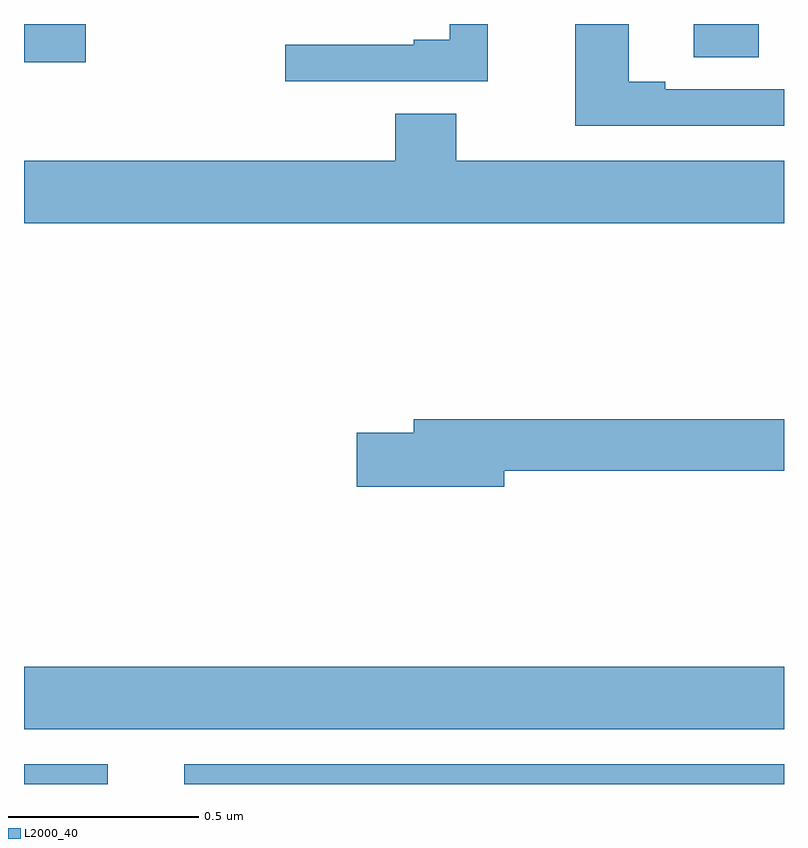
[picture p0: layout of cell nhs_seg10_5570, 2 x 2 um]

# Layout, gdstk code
import gdstk
lib = gdstk.Library(unit=1e-6, precision=1e-09)
def R(c, l, rs):  # rectangles x0, y0, x1, y1
    for r in rs: c.add(gdstk.rectangle(r[:2], r[2:], *l))
def P(c, l, *ps):  # polygons
    for p in ps: c.add(gdstk.Polygon(p, *l))
L2000_40 = (2000, 40)

nhs_seg10_5570 = lib.new_cell('nhs_seg10_5570')
R(nhs_seg10_5570, L2000_40, [(180,1305.5,180.22,1305.552), (180.422,1305.5,182,1305.552), (180,1305.644,182,1305.808), (180,1307.399,180.163,1307.5), (181.763,1307.413,181.933,1307.5)])
P(nhs_seg10_5570, L2000_40, [(182,1307.328),(181.687,1307.328),(181.687,1307.348),(181.591,1307.348),(181.591,1307.5),(181.451,1307.5),(181.451,1307.232),(182,1307.232)],
  [(181.221,1307.5),(181.121,1307.5),(181.121,1307.458),(181.025,1307.458),(181.025,1307.445),(180.687,1307.445),(180.687,1307.349),(181.221,1307.349)],
  [(182,1307.14),(181.137,1307.14),(181.137,1307.264),(180.977,1307.264),(180.977,1307.14),(180,1307.14),(180,1306.976),(182,1306.976)],
  [(181.264,1306.324),(182,1306.324),(182,1306.46),(181.025,1306.46),(181.025,1306.424),(180.876,1306.424),(180.876,1306.282),(181.264,1306.282)])

lib.write_gds('nhs_seg10_5570.gds')
